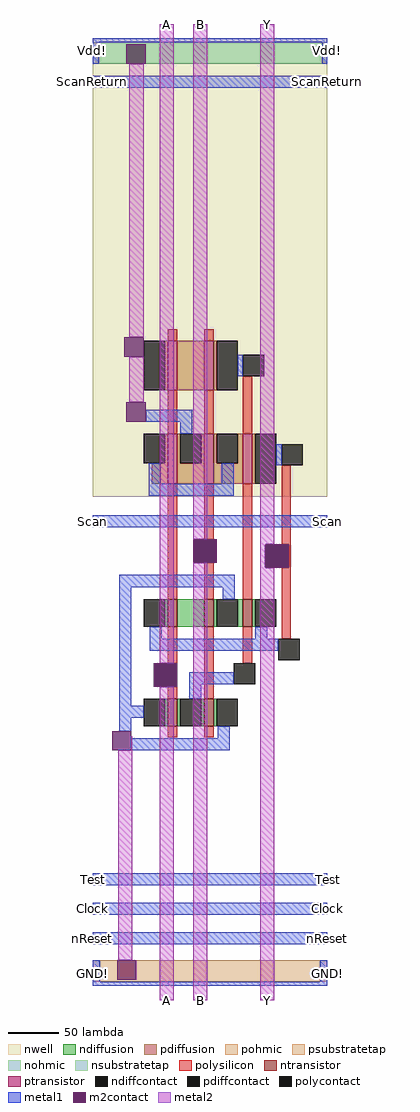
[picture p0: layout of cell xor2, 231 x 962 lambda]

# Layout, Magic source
magic
tech tsmc180
<< nwell >>
rect 0 496 231 948
<< polysilicon >>
rect 74 650 83 661
rect 110 650 119 661
rect 74 558 83 601
rect 110 558 119 601
rect 148 558 157 615
rect 74 395 83 509
rect 110 454 119 509
rect 110 395 119 431
rect 148 395 157 509
rect 186 449 195 527
rect 193 426 195 449
rect 74 332 83 368
rect 74 297 83 309
rect 110 297 119 368
rect 148 332 157 368
rect 186 356 195 426
rect 74 259 83 270
rect 110 259 119 270
<< ndiffusion >>
rect 71 368 74 395
rect 83 368 110 395
rect 119 368 122 395
rect 143 368 148 395
rect 157 368 160 395
rect 71 270 74 297
rect 83 270 86 297
rect 107 270 110 297
rect 119 270 122 297
<< pdiffusion >>
rect 71 601 74 650
rect 83 601 110 650
rect 119 601 122 650
rect 71 529 74 558
rect 58 509 74 529
rect 83 529 86 558
rect 107 529 110 558
rect 83 509 110 529
rect 119 529 122 558
rect 143 529 148 558
rect 119 509 148 529
rect 157 509 160 558
<< pohmic >>
rect 0 18 7 39
rect 224 18 231 39
<< nohmic >>
rect 0 923 6 944
rect 226 923 231 944
<< ntransistor >>
rect 74 368 83 395
rect 110 368 119 395
rect 148 368 157 395
rect 74 270 83 297
rect 110 270 119 297
<< ptransistor >>
rect 74 601 83 650
rect 110 601 119 650
rect 74 509 83 558
rect 110 509 119 558
rect 148 509 157 558
<< polycontact >>
rect 148 615 169 636
rect 186 527 207 548
rect 99 431 122 454
rect 170 426 193 449
rect 60 309 83 332
rect 183 335 204 356
rect 139 311 160 332
<< ndiffcontact >>
rect 50 368 71 395
rect 122 368 143 395
rect 160 368 181 395
rect 50 270 71 297
rect 86 270 107 297
rect 122 270 143 297
<< pdiffcontact >>
rect 50 601 71 650
rect 122 601 143 650
rect 50 529 71 558
rect 86 529 107 558
rect 122 529 143 558
rect 160 509 181 558
<< psubstratetap >>
rect 7 18 224 39
<< nsubstratetap >>
rect 6 923 226 944
<< metal1 >>
rect 0 944 231 948
rect 0 923 6 944
rect 226 923 231 944
rect 0 899 231 911
rect 143 615 148 636
rect 52 570 98 582
rect 86 558 98 570
rect 55 509 67 529
rect 127 509 139 529
rect 181 527 186 548
rect 55 497 139 509
rect 0 466 231 478
rect 26 407 140 419
rect 26 290 38 407
rect 128 395 140 407
rect 56 356 68 368
rect 160 356 172 368
rect 56 344 183 356
rect 95 311 139 323
rect 95 297 107 311
rect 26 278 50 290
rect 26 265 38 278
rect 123 258 135 270
rect 38 246 135 258
rect 0 113 231 125
rect 0 84 231 96
rect 0 55 231 67
rect 0 18 7 39
rect 224 18 231 39
rect 0 14 231 18
<< m2contact >>
rect 33 923 52 942
rect 31 634 50 653
rect 33 570 52 589
rect 99 431 122 454
rect 170 426 193 449
rect 60 309 83 332
rect 19 246 38 265
rect 24 20 43 39
<< metal2 >>
rect 36 653 50 923
rect 36 589 50 634
rect 66 332 80 962
rect 99 454 113 962
rect 165 449 179 962
rect 38 246 39 260
rect 25 39 39 246
rect 66 0 80 309
rect 99 0 113 431
rect 165 426 170 449
rect 165 0 179 426
<< labels >>
rlabel metal1 0 14 0 39 3 GND!
rlabel metal1 231 14 231 39 7 GND!
rlabel metal1 0 55 0 67 3 nReset
rlabel metal1 231 55 231 67 7 nReset
rlabel metal1 0 84 0 96 3 Clock
rlabel metal1 231 84 231 96 7 Clock
rlabel metal1 0 113 0 125 3 Test
rlabel metal1 231 113 231 125 7 Test
rlabel metal1 0 923 0 948 3 Vdd!
rlabel metal1 0 899 0 911 3 ScanReturn
rlabel metal1 231 899 231 911 7 ScanReturn
rlabel metal1 231 923 231 948 7 Vdd!
rlabel metal1 0 466 0 478 3 Scan
rlabel metal1 231 466 231 478 7 Scan
rlabel metal2 165 962 179 962 5 Y
rlabel metal2 99 962 113 962 5 B
rlabel metal2 66 962 80 962 5 A
rlabel metal2 66 0 80 0 1 A
rlabel metal2 99 0 113 0 1 B
rlabel metal2 165 0 179 0 1 Y
<< end >>
